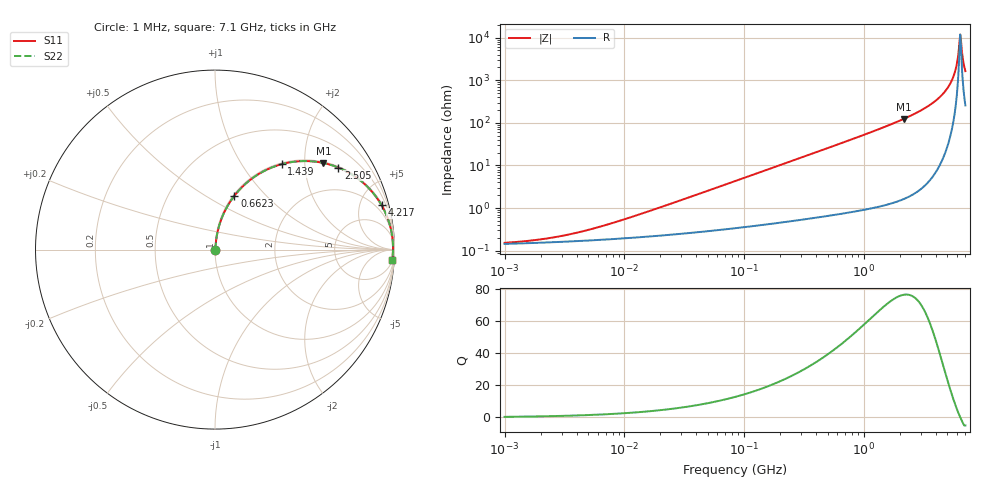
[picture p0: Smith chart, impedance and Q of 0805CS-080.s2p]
# MHz S MA R 50
!Freq  MagS11  AngS11  MagS21  AngS21  MagS12  AngS12  MagS22  AngS22
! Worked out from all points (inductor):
!   801 points, 1 MHz to 7.1 GHz, reference 50 ohm
!   read as one part in series: L = 8.05 nH near 11.98 MHz
!   highest Q = 76.3 at 2.168 GHz (marker M1), where L = 9.08 nH
!   self-resonance near 6.426 GHz
!   S11 on the Smith chart (normalised r, x): 1 MHz: 1.00, +0.00; 662.3 MHz: 1.01, +0.68; 1.439 GHz: 1.02, +1.53; 2.505 GHz: 1.04, +2.99; 4.217 GHz: 1.17, +7.47; 7.1 GHz: 6, -32
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1  0.001518 19.4  0.9986 -0.0  0.9986 -0.0  0.001518 19.4
2.172627  0.001893 35.4  0.9985 -0.1  0.9985 -0.1  0.001893 35.4
4.416577  0.002797 52.7  0.9983 -0.1  0.9983 -0.1  0.002797 52.7
19.29112  0.009986 76.6  0.9977 -0.6  0.9977 -0.6  0.009986 76.6
84.2615  0.04258 83.1  0.9958 -2.4  0.9958 -2.4  0.04258 83.1
372.1474  0.1846 77.6  0.9772 -10.6  0.9772 -10.6  0.1846 77.6
662.2878  0.3187 70.2  0.941 -18.6  0.941 -18.6  0.3187 70.2
987.0823  0.4521 62.1  0.8841 -26.9  0.8841 -26.9  0.4521 62.1
1438.904  0.6039 52.0  0.7882 -37.1  0.7882 -37.1  0.6039 52.0
1625.499  0.6554 48.3  0.7462 -40.9  0.7462 -40.9  0.6554 48.3
2168.466  0.7728 38.6  0.6246 -50.6  0.6246 -50.6  0.7728 38.6
2504.583  0.8258 33.6  0.5531 -55.7  0.5531 -55.7  0.8258 33.6
3341.192  0.9128 23.2  0.3945 -65.9  0.3945 -65.9  0.9128 23.2
4216.935  0.9604 14.9  0.257 -73.8  0.257 -73.8  0.9604 14.9
4924.861  0.9802 9.4  0.1632 -78.4  0.1632 -78.4  0.9802 9.4
5502.178  0.9884 5.5  0.0958 -80.3  0.0958 -80.3  0.9884 5.5
5880.566  0.991 3.2  0.0555 -79.1  0.0555 -79.1  0.991 3.2
6215.692  0.9918 1.2  0.02265 -68.2  0.02265 -68.2  0.9918 1.2
6355.03  0.9918 0.4  0.01124 -42.8  0.01124 -42.8  0.9918 0.4
6569.916  0.9914 -0.7  0.01517 55.1  0.01517 55.1  0.9914 -0.7
6944.328  0.9897 -2.7  0.04716 76.1  0.04716 76.1  0.9897 -2.7
7100  0.9887 -3.4  0.06046 77.6  0.06046 77.6  0.9887 -3.4
